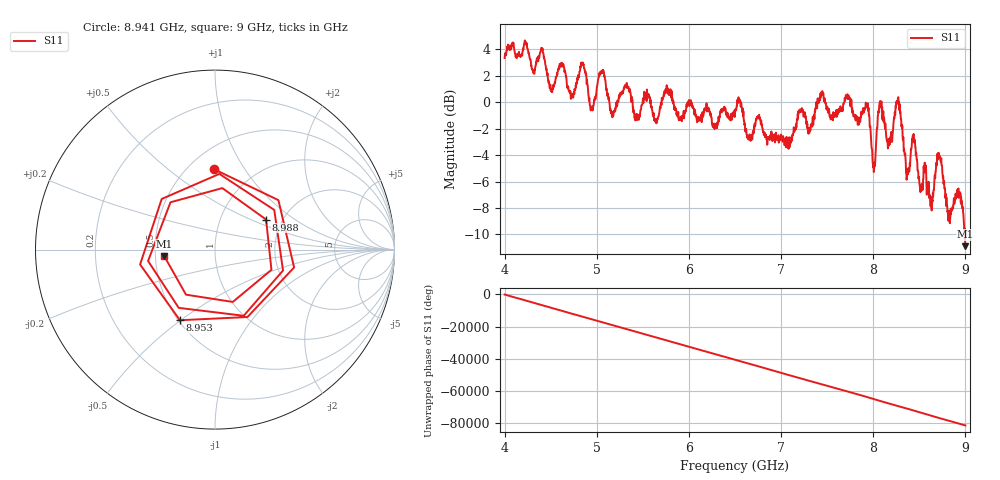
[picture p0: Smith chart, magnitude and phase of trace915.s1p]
! Created with skrf 1.8.0 (http://scikit-rf.org).
# Hz S RI R 50.0
!freq ReS11 ImS11
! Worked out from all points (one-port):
!   1601 points, 4 GHz to 9 GHz, reference 50 ohm
!   lowest |S11| = -10.9 dB at 9 GHz (marker M1), VSWR 1.80, Z = 27.9 - j2.12 ohm
!   |S11| at or under -10 dB: 8.993021 GHz to end of sweep
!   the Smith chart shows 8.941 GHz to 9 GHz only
!   S11 on the Smith chart (normalised r, x): 8.941 GHz: 0.66, +0.74; 8.953 GHz: 0.51, -0.50; 8.988 GHz: 1.65, +0.62; 9 GHz: 0.56, -0.04
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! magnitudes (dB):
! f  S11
! 4 GHz  3.3
! 4.406 GHz  4.1
! 4.509 GHz  0.8
! 4.625 GHz  3.0
! 4.731 GHz  0.4
! 4.853 GHz  2.8
! 4.941 GHz  -0.4
! 5.053 GHz  2.3
! 5.169 GHz  -1.1
! 5.25 GHz  0.5
! 5.875 GHz  -0.9
! 6.5 GHz  -0.8
! 7.125 GHz  -2.5
! 7.75 GHz  0.3
! 7.934 GHz  -0.4
! 8.006 GHz  -5.3
! 8.072 GHz  0.0
! 8.169 GHz  -3.0
! 8.269 GHz  0.3
! 8.375 GHz  -5.3
! 8.434 GHz  -2.5
! 8.619 GHz  -7.8
! 8.712 GHz  -3.8
! 8.822 GHz  -8.6
! 8.941 GHz  -7.0
! 8.953 GHz  -7.1
! 8.988 GHz  -9.6
! 9 GHz  -10.9
